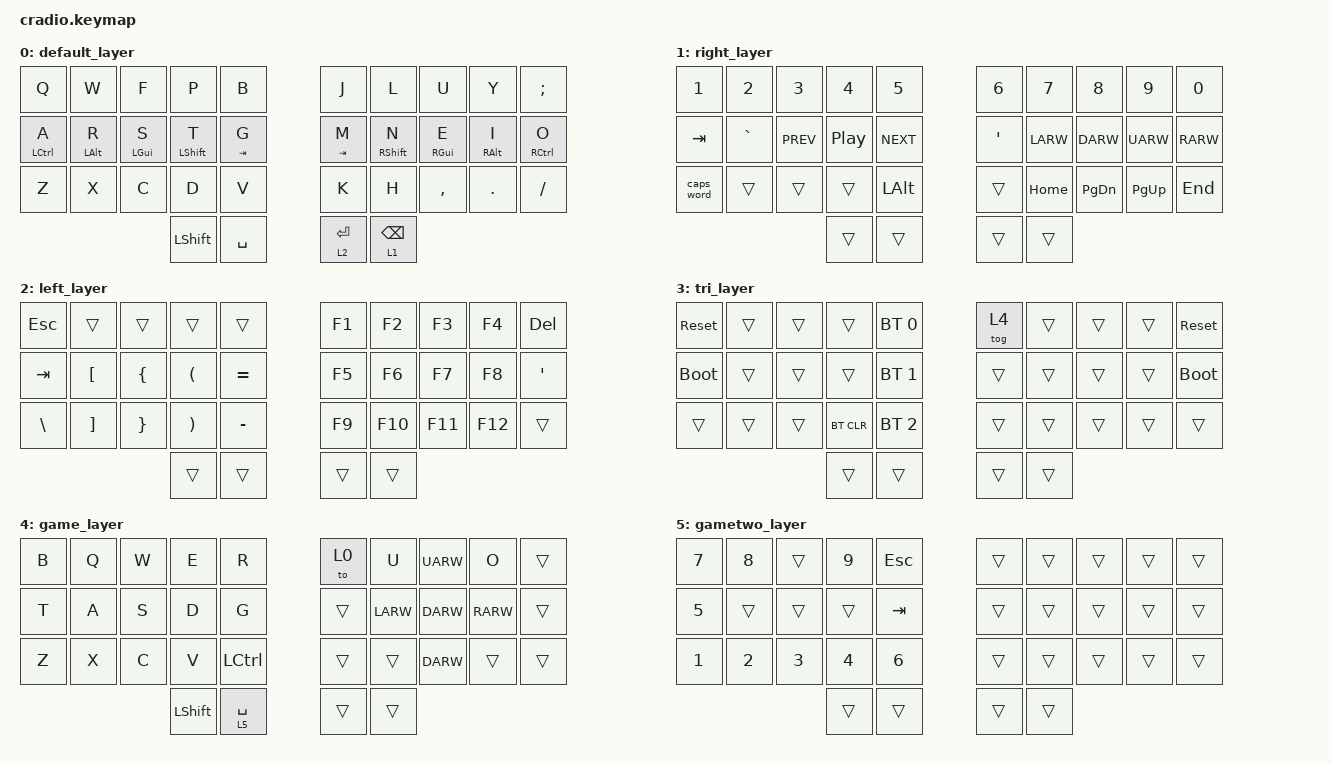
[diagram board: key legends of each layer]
// Copyright (c) 2022 The ZMK Contributors
// SPDX-License-Identifier: MIT

#include <behaviors.dtsi>
#include <dt-bindings/zmk/keys.h>
#include <dt-bindings/zmk/bt.h>

// Home row mods macro
#define HRML(k1,k2,k3,k4) &ht LCTRL k1  &ht LALT k2  &ht LGUI k3  &ht LSHFT k4
#define HRMR(k1,k2,k3,k4) &ht RSHFT k1  &ht RGUI k2  &ht RALT k3  &ht RCTRL k4

// activate bluetooth
#define CONFIG_WIRELESS 1

/ {
    behaviors {
        ht: hold_tap {
            compatible = "zmk,behavior-hold-tap";
            #binding-cells = <2>;
            flavor = "tap-preferred";
            tapping-term-ms = <220>;
            quick-tap-ms = <150>;
            require-prior-idle-ms = <100>;
            bindings = <&kp>, <&kp>;
        };
    };

    conditional_layers {
        compatible = "zmk,conditional-layers";
        tri_layer {
            if-layers = <1 2>;
            then-layer = <3>;
        };
    };

    keymap {
        compatible = "zmk,keymap";
        default_layer {
            bindings = <
        //╭──────────┬──────────┬──────────┬──────────┬──────────╮   ╭──────────┬──────────┬──────────┬──────────┬──────────╮
        //│  Q       │  W       │  F       │  P       │  B       │   │  J       │  L       │  U       │  Y       │  :       │
            &kp Q      &kp W      &kp F      &kp P      &kp B          &kp J      &kp L      &kp U      &kp Y      &kp SEMI
        //├──────────┼──────────┼──────────┼──────────┼──────────┤   ├──────────┼──────────┼──────────┼──────────┼──────────┤
        //│  A       │  R       │  S       │  T       │  G       │   │  M       │  N       │  E       │  I       │  O       │
          &ht LCTRL A  &ht LALT R  &ht LGUI S &ht LSHFT T &ht TAB G   &ht TAB M   &ht RSHFT N &ht RGUI E  &ht RALT I &ht RCTRL O
        //├──────────┼──────────┼──────────┼──────────┼──────────┤   ├──────────┼──────────┼──────────┼──────────┼──────────┤
        //│  Z       │  X       │  C       │  D       │  V       │   │  K       │  H       │ , <      │ . >      │ / ?      │
            &kp Z      &kp X      &kp C      &kp D      &kp V          &kp K      &kp H      &kp COMMA  &kp DOT    &kp FSLH
        //╰──────────┴──────────┴──────────┼──────────┼──────────┤   ├──────────┼──────────┼──────────┴──────────┴──────────╯
                                            &kp LSHFT   &kp SPACE      &lt 2 ENTER &lt 1 BSPC 
        //                                 ╰──────────┴──────────╯   ╰──────────┴──────────╯
            >;
        };

        right_layer {
            bindings = <
        //╭──────────┬──────────┬──────────┬──────────┬──────────╮   ╭──────────┬──────────┬──────────┬──────────┬──────────╮
        //│ 1        │  2       │  3       │  4       │  5       │   │ 6        │ 7        │ 8        │ 9        │  0       │
            &kp N1      &kp N2     &kp N3     &kp N4     &kp N5        &kp N6     &kp N7     &kp N8     &kp N9     &kp N0
        //├──────────┼──────────┼──────────┼──────────┼──────────┤   ├──────────┼──────────┼──────────┼──────────┼──────────┤
        //│ TAB      │  `~      │   PREV   │    PLAY  │   NEXT   │   │   '"     │ LEFT     │ DOWN     │ UP       │ RIGHT  	|
            &kp TAB    &kp GRAVE   &kp C_PREV  &kp C_PP  &kp C_NEXT    &kp SQT  &kp LARW   &kp DARW   &kp UARW    &kp RARW
        //├──────────┼──────────┼──────────┼──────────┼──────────┤   ├──────────┼──────────┼──────────┼──────────┼──────────┤
        //│ CAPS     │          │          │          │          │   │          │  HOME    │  PG DN   │ PG UP    │  END     │
           &caps_word   &trans     &trans     &trans    &kp LALT		&trans    &kp HOME   &kp PG_DN  &kp PG_UP &kp END      
        //╰──────────┴──────────┴──────────┼──────────┼──────────┤   ├──────────┼──────────┼──────────┴──────────┴────── ───╯
                                             &trans     &trans       &trans     &trans
        //                                 ╰──────────┴──────────╯   ╰──────────┴──────────╯
            >;
        };

        left_layer {
            bindings = <
        //╭──────────┬──────────┬──────────┬──────────┬──────────╮   ╭──────────┬──────────┬──────────┬──────────┬──────────╮
        //│  ESC     │          │          │          │          │   │   F1     │    F2    │   F3     │   F4     │   DEL   │
             &kp ESC    &trans     &trans     &trans   &trans         &kp F1    &kp F2      &kp F3     &kp F4     &kp DEL
        //├──────────┼──────────┼──────────┼──────────┼──────────┤   ├──────────┼──────────┼──────────┼──────────┼──────────┤
        //│  TAB     │    [     │    {     │    (     │   +=     │   │   F5     │   F6     │   F7     │    F8    │   '"     │
             &kp TAB     &kp LBKT    &kp LBRC    &kp LPAR  &kp EQUAL   &kp F5    &kp F6   &kp F7     &kp F8    &kp SQT
        //├──────────┼──────────┼──────────┼──────────┼──────────┤   ├──────────┼──────────┼──────────┼──────────┼──────────┤
        //│    \|    │    ]     │    }     │    )     │   -_     │   │   F9     │    F10   │   F11    │    F12   │          │
            &kp BSLH   &kp RBKT    &kp RBRC    &kp RPAR &kp MINUS      &kp F9      &kp F10   &kp F11     &kp F12     &trans
        //╰──────────┴──────────┴──────────┼──────────┼──────────┤   ├──────────┼──────────┼──────────┴──────────┴──────────╯
                                             &trans     &trans         &trans     &trans
        //                                 ╰──────────┴──────────╯   ╰──────────┴──────────╯
            >;
        };

        tri_layer {
            bindings = <
        //╭──────────┬──────────┬──────────┬──────────┬──────────╮   ╭──────────┬──────────┬──────────┬──────────┬──────────╮
        //│ RESET    │          │          │          │PROFILE 0 │   │  game    │          │          │          │  RESET   │
           &sys_reset  &trans     &trans     &trans    &bt BT_SEL 0    &tog 4     &trans      &trans    &trans    &sys_reset
        //├──────────┼──────────┼──────────┼──────────┼──────────┤   ├──────────┼──────────┼──────────┼──────────┼──────────┤
        //│BOOTLOADER│          │          │          │PROFILE 1 │   │          │          │          │          │BOOTLOADER│
          &bootloader  &trans     &trans     &trans    &bt BT_SEL 1    &trans     &trans     &trans     &trans    &bootloader
        //├──────────┼──────────┼──────────┼──────────┼──────────┤   ├──────────┼──────────┼──────────┼──────────┼──────────┤
        //│          │          │          │ CLEAR BT │PROFILE 2 │   │          │          │          │          │          │
            &trans     &trans     &trans    &bt BT_CLR &bt BT_SEL 2    &trans     &trans     &trans     &trans     &trans
        //╰──────────┴──────────┴──────────┼──────────┼──────────┤   ├──────────┼──────────┼──────────┴──────────┴──────────╯
                                             &trans     &trans         &trans     &trans
        //                                 ╰──────────┴──────────╯   ╰──────────┴──────────╯
            >;
        };
		
        game_layer {
            bindings = <
        //╭──────────┬──────────┬──────────┬──────────┬──────────╮   ╭──────────┬──────────┬──────────┬──────────┬──────────╮
        //│  B	     │  Q       │  W       │  E       │  R       │   │   base   │          │          │          │          │
           &kp B      &kp Q       &kp W       &kp E     &kp R          &to 0      &kp U     &kp UARW      &kp O     &trans
        //├──────────┼──────────┼──────────┼──────────┼──────────┤   ├──────────┼──────────┼──────────┼──────────┼──────────┤
        //│  T       │  A       │  S       │  D       │  G       │   │          │          │          │          │          |
            &kp T      &kp A      &kp S      &kp D      &kp G          &trans    &kp LARW    &kp DARW    &kp RARW    &trans
        //├──────────┼──────────┼──────────┼──────────┼──────────┤   ├──────────┼──────────┼──────────┼──────────┼──────────┤
        //│  Z       │  X       │  C       │  V       │          │   │          │          │          │          │          │
            &kp Z     &kp X      &kp C      &kp V      &kp LCTRL          &trans     &trans    &kp DARW     &trans   &trans
        //╰──────────┴──────────┴──────────┼──────────┼──────────┤   ├──────────┼──────────┼──────────┴──────────┴──────────╯
                                            &kp LSHFT &lt 5 SPACE     &trans     &trans
        //                                ╰──────────┴──────────╯    ╰──────────┴──────────╯
            >;
		};	
        gametwo_layer {
            bindings = <
        //╭──────────┬──────────┬──────────┬──────────┬──────────╮   ╭──────────┬──────────┬──────────┬──────────┬──────────╮
        //│          │          │          │          │  ESC     │   │          │          │          │          │          │
            &kp N7     &kp N8     &trans     &kp N9     &kp ESC        &trans     &trans      &trans    &trans     &trans
        //├──────────┼──────────┼──────────┼──────────┼──────────┤   ├──────────┼──────────┼──────────┼──────────┼──────────┤
        //│          │          │          │          │  TAB     │   │          │          │          │          │          │
            &kp N5     &trans     &trans     &trans     &kp TAB         &trans     &trans     &trans     &trans     &trans
        //├──────────┼──────────┼──────────┼──────────┼──────────┤   ├──────────┼──────────┼──────────┼──────────┼──────────┤
        //│          │          │          │          │          │   │          │          │          │          │          │
            &kp N1      &kp N2     &kp N3     &kp N4     &kp N6         &trans     &trans     &trans     &trans     &trans
        //╰──────────┴──────────┴──────────┼──────────┼──────────┤   ├──────────┼──────────┼──────────┴──────────┴──────────╯
                                             &trans      &trans         &trans     &trans
        //                                 ╰──────────┴──────────╯   ╰──────────┴──────────╯
            >;
        };
    };
};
